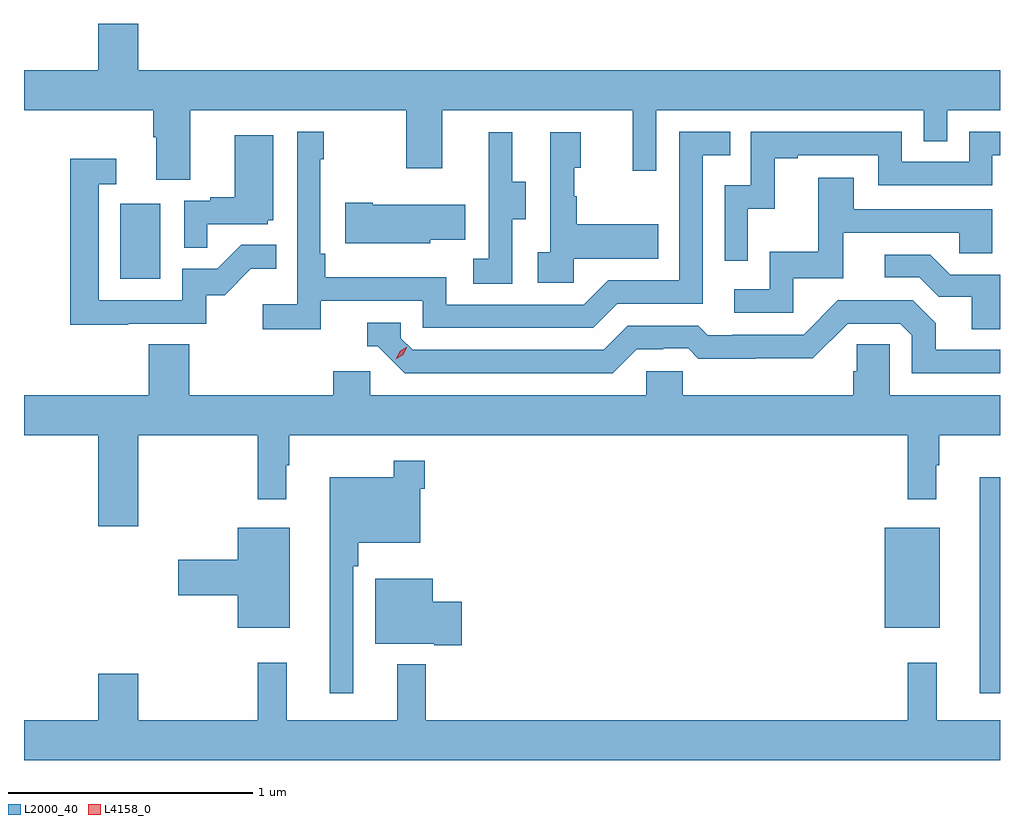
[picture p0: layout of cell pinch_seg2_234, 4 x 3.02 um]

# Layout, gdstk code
import gdstk
lib = gdstk.Library(unit=1e-6, precision=1e-09)
def R(c, l, rs):  # rectangles x0, y0, x1, y1
    for r in rs: c.add(gdstk.rectangle(r[:2], r[2:], *l))
def P(c, l, *ps):  # polygons
    for p in ps: c.add(gdstk.Polygon(p, *l))
L2000_40 = (2000, 40)
L4158_0 = (4158, 0)

pinch_seg2_234 = lib.new_cell('pinch_seg2_234')
R(pinch_seg2_234, L2000_40, [(923.864,657.234,923.947,658.12), (923.474,657.503,923.701,657.913), (920.342,658.932,920.506,659.239)])
P(pinch_seg2_234, L2000_40, [(920.629,659.624),(921.514,659.624),(921.514,659.385),(921.661,659.385),(921.661,659.624),(922.442,659.624),(922.442,659.376),(922.539,659.376),(922.539,659.624),(923.634,659.624),(923.634,659.497),(923.73,659.497),(923.73,659.624),(923.947,659.624),(923.947,659.788),(920.416,659.788),(920.416,659.977),(920.252,659.977),(920.252,659.788),(919.947,659.788),(919.947,659.624),(920.477,659.624),(920.477,659.512),(920.489,659.512),(920.489,659.338),(920.629,659.338)],
  [(921.164,658.842),(921.582,658.842),(921.582,658.731),(922.279,658.731),(922.378,658.83),(922.728,658.83),(922.728,659.439),(922.841,659.439),(922.841,659.535),(922.632,659.535),(922.632,658.926),(922.341,658.926),(922.242,658.827),(921.678,658.827),(921.678,658.939),(921.182,658.939),(921.182,659.035),(921.162,659.035),(921.162,659.423),(921.175,659.423),(921.175,659.536),(921.066,659.536),(921.066,658.828),(920.925,658.828),(920.925,658.726),(921.164,658.726)],
  [(922.914,659.219),(923.024,659.219),(923.024,659.427),(923.119,659.427),(923.119,659.439),(923.448,659.439),(923.448,659.316),(923.916,659.316),(923.916,659.439),(923.947,659.439),(923.947,659.535),(923.82,659.535),(923.82,659.412),(923.544,659.412),(923.544,659.535),(922.926,659.535),(922.926,659.316),(922.818,659.316),(922.818,659.007),(922.914,659.007)],
  [(922.2,659.015),(922.547,659.015),(922.547,659.155),(922.213,659.155),(922.213,659.27),(922.203,659.27),(922.203,659.388),(922.228,659.388),(922.228,659.533),(922.104,659.533),(922.104,659.042),(922.053,659.042),(922.053,658.917),(922.2,658.917)],
  [(921.948,659.176),(922.003,659.176),(922.003,659.331),(921.949,659.331),(921.949,659.533),(921.851,659.533),(921.851,659.319),(921.852,659.319),(921.852,659.015),(921.789,659.015),(921.789,658.912),(921.948,658.912)],
  [(920.699,659.157),(920.946,659.157),(920.946,659.172),(920.968,659.172),(920.968,659.521),(920.81,659.521),(920.81,659.266),(920.711,659.266),(920.711,659.253),(920.604,659.253),(920.604,659.059),(920.699,659.059)],
  [(920.375,658.749),(920.694,658.749),(920.694,658.866),(920.77,658.866),(920.877,658.973),(920.981,658.973),(920.981,659.072),(920.837,659.072),(920.739,658.974),(920.595,658.974),(920.595,658.845),(920.253,658.845),(920.253,659.319),(920.326,659.319),(920.326,659.425),(920.137,659.425),(920.137,658.744),(920.375,658.744)],
  [(923.1,658.935),(923.305,658.935),(923.305,659.121),(923.779,659.121),(923.779,659.037),(923.916,659.037),(923.916,659.217),(923.347,659.217),(923.347,659.347),(923.203,659.347),(923.203,659.044),(923.004,659.044),(923.004,658.89),(922.857,658.89),(922.857,658.794),(923.1,658.794)],
  [(921.612,659.093),(921.755,659.093),(921.755,659.236),(921.376,659.236),(921.376,659.244),(921.264,659.244),(921.264,659.078),(921.612,659.078)],
  [(923.947,658.95),(923.743,658.95),(923.662,659.031),(923.475,659.031),(923.475,658.938),(923.616,658.938),(923.696,658.858),(923.831,658.858),(923.831,658.726),(923.947,658.726)],
  [(922.459,658.644),(922.566,658.644),(922.566,658.647),(922.669,658.647),(922.711,658.605),(922.944,658.605),(922.944,658.607),(923.18,658.607),(923.322,658.749),(923.538,658.749),(923.586,658.701),(923.586,658.545),(923.947,658.545),(923.947,658.641),(923.683,658.641),(923.683,658.751),(923.589,658.845),(923.283,658.845),(923.142,658.704),(922.849,658.704),(922.849,658.701),(922.75,658.701),(922.711,658.74),(922.422,658.74),(922.323,658.641),(921.54,658.641),(921.492,658.689),(921.492,658.752),(921.353,658.752),(921.353,658.656),(921.396,658.656),(921.507,658.545),(922.36,658.545)],
  [(920.416,658.292),(920.905,658.292),(920.905,658.029),(921.022,658.029),(921.022,658.169),(921.034,658.169),(921.034,658.292),(923.569,658.292),(923.569,658.029),(923.686,658.029),(923.686,658.169),(923.698,658.169),(923.698,658.292),(923.947,658.292),(923.947,658.456),(923.496,658.456),(923.496,658.664),(923.359,658.664),(923.359,658.554),(923.345,658.554),(923.345,658.456),(922.647,658.456),(922.647,658.554),(922.497,658.554),(922.497,658.456),(921.366,658.456),(921.366,658.554),(921.215,658.554),(921.215,658.456),(920.624,658.456),(920.624,658.664),(920.459,658.664),(920.459,658.456),(919.947,658.456),(919.947,658.292),(920.252,658.292),(920.252,657.918),(920.416,657.918)],
  [(921.297,657.755),(921.317,657.755),(921.317,657.851),(921.57,657.851),(921.57,658.073),(921.59,658.073),(921.59,658.186),(921.462,658.186),(921.462,658.12),(921.2,658.12),(921.2,657.234),(921.297,657.234)],
  [(921.037,657.913),(920.822,657.913),(920.822,657.782),(920.58,657.782),(920.58,657.635),(920.822,657.635),(920.822,657.503),(921.037,657.503)],
  [(921.742,657.608),(921.622,657.608),(921.622,657.703),(921.386,657.703),(921.386,657.437),(921.629,657.437),(921.629,657.43),(921.742,657.43)],
  [(923.947,657.124),(923.687,657.124),(923.687,657.358),(923.569,657.358),(923.569,657.124),(921.593,657.124),(921.593,657.352),(921.476,657.352),(921.476,657.124),(921.023,657.124),(921.023,657.358),(920.905,657.358),(920.905,657.124),(920.416,657.124),(920.416,657.313),(920.252,657.313),(920.252,657.124),(919.947,657.124),(919.947,656.96),(923.947,656.96)])
P(pinch_seg2_234, L4158_0, [(921.47,658.602),(921.47,658.602),(921.486,658.635),(921.517,658.654),(921.517,658.654),(921.517,658.654),(921.501,658.621),(921.47,658.602)])

lib.write_gds('pinch_seg2_234.gds')
